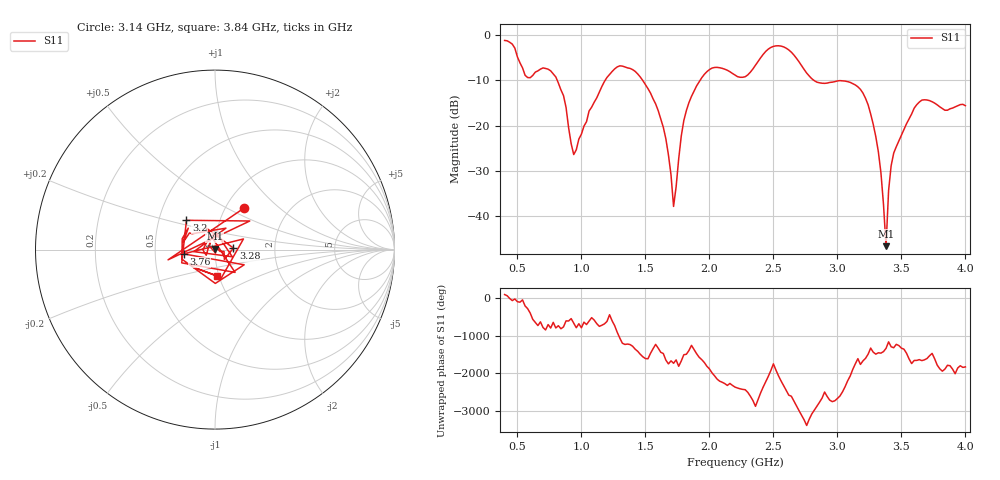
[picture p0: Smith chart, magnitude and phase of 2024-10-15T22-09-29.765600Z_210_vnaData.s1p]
! Created with skrf (http://scikit-rf.org).
# Hz S RI R 50.0
!freq ReS11 ImS11
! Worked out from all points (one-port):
!   181 points, 400 MHz to 4 GHz, reference 50 ohm
!   lowest |S11| = -46.6 dB at 3.38 GHz (marker M1), VSWR 1.01, Z = 49.9 + j0.445 ohm
!   |S11| at or under -10 dB: 810.9 MHz to 1.186 GHz (374.9 MHz wide, 37.5 % of centre); 1.478 GHz to 1.927 GHz (449.4 MHz wide, 26.4 % of centre); 2.816 GHz to end of sweep
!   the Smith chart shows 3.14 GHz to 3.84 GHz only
!   S11 on the Smith chart (normalised r, x): 3.14 GHz: 1.22, +0.61; 3.2 GHz: 0.69, +0.24; 3.28 GHz: 1.23, +0.02; 3.76 GHz: 0.70, -0.03; 3.84 GHz: 0.98, -0.30
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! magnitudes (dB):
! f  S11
! 400 MHz  -1.2
! 560 MHz  -8.9
! 740 MHz  -7.6
! 860 MHz  -13.4
! 940 MHz  -26.4
! 1.3 GHz  -6.8
! 1.58 GHz  -15.2
! 1.66 GHz  -23.0
! 1.72 GHz  -37.9
! 1.76 GHz  -27.4
! 1.82 GHz  -16.7
! 1.94 GHz  -9.4
! 2.2 GHz  -8.8
! 2.5 GHz  -2.5
! 2.66 GHz  -4.4
! 2.84 GHz  -10.4
! 3.1 GHz  -10.5
! 3.14 GHz  -11.0
! 3.2 GHz  -12.8
! 3.28 GHz  -19.7
! 3.34 GHz  -30.4
! 3.38 GHz  -46.6
! 3.4 GHz  -34.4
! 3.42 GHz  -28.9
! 3.56 GHz  -18.5
! 3.76 GHz  -15.1
! 3.84 GHz  -16.6
! 4 GHz  -15.6
